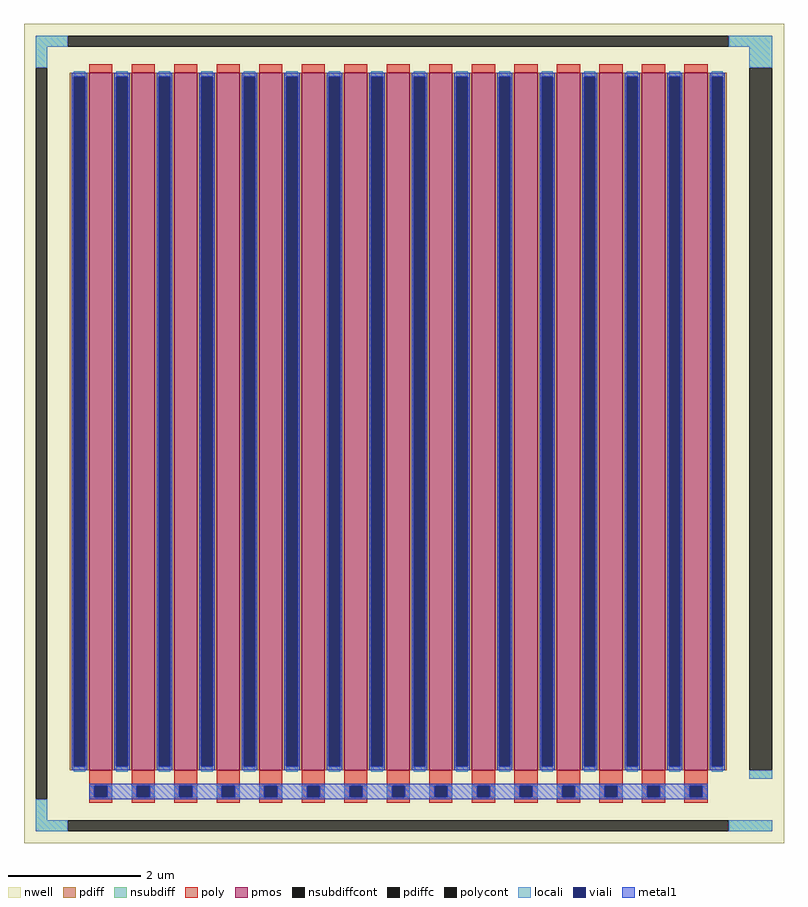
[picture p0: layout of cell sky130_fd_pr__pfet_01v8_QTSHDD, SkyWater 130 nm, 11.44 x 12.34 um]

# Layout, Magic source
magic
tech sky130A
magscale 1 2
<< nwell >>
rect -1127 -1234 1161 1234
<< pmos >>
rect -931 -1014 -861 1086
rect -803 -1014 -733 1086
rect -675 -1014 -605 1086
rect -547 -1014 -477 1086
rect -419 -1014 -349 1086
rect -291 -1014 -221 1086
rect -163 -1014 -93 1086
rect -35 -1014 35 1086
rect 93 -1014 163 1086
rect 221 -1014 291 1086
rect 349 -1014 419 1086
rect 477 -1014 547 1086
rect 605 -1014 675 1086
rect 733 -1014 803 1086
rect 861 -1014 931 1086
<< pdiff >>
rect -989 1074 -931 1086
rect -989 -1002 -977 1074
rect -943 -1002 -931 1074
rect -989 -1014 -931 -1002
rect -861 1074 -803 1086
rect -861 -1002 -849 1074
rect -815 -1002 -803 1074
rect -861 -1014 -803 -1002
rect -733 1074 -675 1086
rect -733 -1002 -721 1074
rect -687 -1002 -675 1074
rect -733 -1014 -675 -1002
rect -605 1074 -547 1086
rect -605 -1002 -593 1074
rect -559 -1002 -547 1074
rect -605 -1014 -547 -1002
rect -477 1074 -419 1086
rect -477 -1002 -465 1074
rect -431 -1002 -419 1074
rect -477 -1014 -419 -1002
rect -349 1074 -291 1086
rect -349 -1002 -337 1074
rect -303 -1002 -291 1074
rect -349 -1014 -291 -1002
rect -221 1074 -163 1086
rect -221 -1002 -209 1074
rect -175 -1002 -163 1074
rect -221 -1014 -163 -1002
rect -93 1074 -35 1086
rect -93 -1002 -81 1074
rect -47 -1002 -35 1074
rect -93 -1014 -35 -1002
rect 35 1074 93 1086
rect 35 -1002 47 1074
rect 81 -1002 93 1074
rect 35 -1014 93 -1002
rect 163 1074 221 1086
rect 163 -1002 175 1074
rect 209 -1002 221 1074
rect 163 -1014 221 -1002
rect 291 1074 349 1086
rect 291 -1002 303 1074
rect 337 -1002 349 1074
rect 291 -1014 349 -1002
rect 419 1074 477 1086
rect 419 -1002 431 1074
rect 465 -1002 477 1074
rect 419 -1014 477 -1002
rect 547 1074 605 1086
rect 547 -1002 559 1074
rect 593 -1002 605 1074
rect 547 -1014 605 -1002
rect 675 1074 733 1086
rect 675 -1002 687 1074
rect 721 -1002 733 1074
rect 675 -1014 733 -1002
rect 803 1074 861 1086
rect 803 -1002 815 1074
rect 849 -1002 861 1074
rect 803 -1014 861 -1002
rect 931 1074 989 1086
rect 931 -1002 943 1074
rect 977 -1002 989 1074
rect 931 -1014 989 -1002
<< pdiffc >>
rect -977 -1002 -943 1074
rect -849 -1002 -815 1074
rect -721 -1002 -687 1074
rect -593 -1002 -559 1074
rect -465 -1002 -431 1074
rect -337 -1002 -303 1074
rect -209 -1002 -175 1074
rect -81 -1002 -47 1074
rect 47 -1002 81 1074
rect 175 -1002 209 1074
rect 303 -1002 337 1074
rect 431 -1002 465 1074
rect 559 -1002 593 1074
rect 687 -1002 721 1074
rect 815 -1002 849 1074
rect 943 -1002 977 1074
<< nsubdiff >>
rect -1091 1164 -995 1198
rect 995 1164 1125 1198
rect -1091 1101 -1057 1164
rect 1057 1101 1125 1164
rect -1091 -1164 -1057 -1101
rect 1057 -1039 1125 -1014
rect -1091 -1198 -995 -1164
rect 995 -1198 1125 -1164
<< nsubdiffcont >>
rect -995 1164 995 1198
rect -1091 -1101 -1057 1101
rect 1057 -1014 1125 1101
rect -995 -1198 995 -1164
<< poly >>
rect -931 1086 -861 1112
rect -803 1086 -733 1112
rect -675 1086 -605 1112
rect -547 1086 -477 1112
rect -419 1086 -349 1112
rect -291 1086 -221 1112
rect -163 1086 -93 1112
rect -35 1086 35 1112
rect 93 1086 163 1112
rect 221 1086 291 1112
rect 349 1086 419 1112
rect 477 1086 547 1112
rect 605 1086 675 1112
rect 733 1086 803 1112
rect 861 1086 931 1112
rect -931 -1061 -861 -1014
rect -931 -1095 -915 -1061
rect -877 -1095 -861 -1061
rect -931 -1111 -861 -1095
rect -803 -1061 -733 -1014
rect -803 -1095 -787 -1061
rect -749 -1095 -733 -1061
rect -803 -1111 -733 -1095
rect -675 -1061 -605 -1014
rect -675 -1095 -659 -1061
rect -621 -1095 -605 -1061
rect -675 -1111 -605 -1095
rect -547 -1061 -477 -1014
rect -547 -1095 -531 -1061
rect -493 -1095 -477 -1061
rect -547 -1111 -477 -1095
rect -419 -1061 -349 -1014
rect -419 -1095 -403 -1061
rect -365 -1095 -349 -1061
rect -419 -1111 -349 -1095
rect -291 -1061 -221 -1014
rect -291 -1095 -275 -1061
rect -237 -1095 -221 -1061
rect -291 -1111 -221 -1095
rect -163 -1061 -93 -1014
rect -163 -1095 -147 -1061
rect -109 -1095 -93 -1061
rect -163 -1111 -93 -1095
rect -35 -1061 35 -1014
rect -35 -1095 -19 -1061
rect 19 -1095 35 -1061
rect -35 -1111 35 -1095
rect 93 -1061 163 -1014
rect 93 -1095 109 -1061
rect 147 -1095 163 -1061
rect 93 -1111 163 -1095
rect 221 -1061 291 -1014
rect 221 -1095 237 -1061
rect 275 -1095 291 -1061
rect 221 -1111 291 -1095
rect 349 -1061 419 -1014
rect 349 -1095 365 -1061
rect 403 -1095 419 -1061
rect 349 -1111 419 -1095
rect 477 -1061 547 -1014
rect 477 -1095 493 -1061
rect 531 -1095 547 -1061
rect 477 -1111 547 -1095
rect 605 -1061 675 -1014
rect 605 -1095 621 -1061
rect 659 -1095 675 -1061
rect 605 -1111 675 -1095
rect 733 -1061 803 -1014
rect 733 -1095 749 -1061
rect 787 -1095 803 -1061
rect 733 -1111 803 -1095
rect 861 -1061 931 -1014
rect 861 -1095 877 -1061
rect 915 -1095 931 -1061
rect 861 -1111 931 -1095
<< polycont >>
rect -915 -1095 -877 -1061
rect -787 -1095 -749 -1061
rect -659 -1095 -621 -1061
rect -531 -1095 -493 -1061
rect -403 -1095 -365 -1061
rect -275 -1095 -237 -1061
rect -147 -1095 -109 -1061
rect -19 -1095 19 -1061
rect 109 -1095 147 -1061
rect 237 -1095 275 -1061
rect 365 -1095 403 -1061
rect 493 -1095 531 -1061
rect 621 -1095 659 -1061
rect 749 -1095 787 -1061
rect 877 -1095 915 -1061
<< locali >>
rect -1091 1164 -995 1198
rect 995 1164 1125 1198
rect -1091 1101 -1057 1164
rect 1057 1101 1125 1164
rect -977 1074 -943 1090
rect -977 -1018 -943 -1002
rect -849 1074 -815 1090
rect -849 -1018 -815 -1002
rect -721 1074 -687 1090
rect -721 -1018 -687 -1002
rect -593 1074 -559 1090
rect -593 -1018 -559 -1002
rect -465 1074 -431 1090
rect -465 -1018 -431 -1002
rect -337 1074 -303 1090
rect -337 -1018 -303 -1002
rect -209 1074 -175 1090
rect -209 -1018 -175 -1002
rect -81 1074 -47 1090
rect -81 -1018 -47 -1002
rect 47 1074 81 1090
rect 47 -1018 81 -1002
rect 175 1074 209 1090
rect 175 -1018 209 -1002
rect 303 1074 337 1090
rect 303 -1018 337 -1002
rect 431 1074 465 1090
rect 431 -1018 465 -1002
rect 559 1074 593 1090
rect 559 -1018 593 -1002
rect 687 1074 721 1090
rect 687 -1018 721 -1002
rect 815 1074 849 1090
rect 815 -1018 849 -1002
rect 943 1074 977 1090
rect 943 -1018 977 -1002
rect 1057 -1039 1125 -1014
rect -931 -1095 -915 -1061
rect -877 -1095 -861 -1061
rect -803 -1095 -787 -1061
rect -749 -1095 -733 -1061
rect -675 -1095 -659 -1061
rect -621 -1095 -605 -1061
rect -547 -1095 -531 -1061
rect -493 -1095 -477 -1061
rect -419 -1095 -403 -1061
rect -365 -1095 -349 -1061
rect -291 -1095 -275 -1061
rect -237 -1095 -221 -1061
rect -163 -1095 -147 -1061
rect -109 -1095 -93 -1061
rect -35 -1095 -19 -1061
rect 19 -1095 35 -1061
rect 93 -1095 109 -1061
rect 147 -1095 163 -1061
rect 221 -1095 237 -1061
rect 275 -1095 291 -1061
rect 349 -1095 365 -1061
rect 403 -1095 419 -1061
rect 477 -1095 493 -1061
rect 531 -1095 547 -1061
rect 605 -1095 621 -1061
rect 659 -1095 675 -1061
rect 733 -1095 749 -1061
rect 787 -1095 803 -1061
rect 861 -1095 877 -1061
rect 915 -1095 931 -1061
rect -1091 -1164 -1057 -1101
rect -1091 -1198 -995 -1164
rect 995 -1198 1125 -1164
<< viali >>
rect -977 -1002 -943 1074
rect -849 -1002 -815 1074
rect -721 -1002 -687 1074
rect -593 -1002 -559 1074
rect -465 -1002 -431 1074
rect -337 -1002 -303 1074
rect -209 -1002 -175 1074
rect -81 -1002 -47 1074
rect 47 -1002 81 1074
rect 175 -1002 209 1074
rect 303 -1002 337 1074
rect 431 -1002 465 1074
rect 559 -1002 593 1074
rect 687 -1002 721 1074
rect 815 -1002 849 1074
rect 943 -1002 977 1074
rect -915 -1095 -877 -1061
rect -787 -1095 -749 -1061
rect -659 -1095 -621 -1061
rect -531 -1095 -493 -1061
rect -403 -1095 -365 -1061
rect -275 -1095 -237 -1061
rect -147 -1095 -109 -1061
rect -19 -1095 19 -1061
rect 109 -1095 147 -1061
rect 237 -1095 275 -1061
rect 365 -1095 403 -1061
rect 493 -1095 531 -1061
rect 621 -1095 659 -1061
rect 749 -1095 787 -1061
rect 877 -1095 915 -1061
<< metal1 >>
rect -983 1074 -937 1086
rect -983 -1002 -977 1074
rect -943 -1002 -937 1074
rect -983 -1014 -937 -1002
rect -855 1074 -809 1086
rect -855 -1002 -849 1074
rect -815 -1002 -809 1074
rect -855 -1014 -809 -1002
rect -727 1074 -681 1086
rect -727 -1002 -721 1074
rect -687 -1002 -681 1074
rect -727 -1014 -681 -1002
rect -599 1074 -553 1086
rect -599 -1002 -593 1074
rect -559 -1002 -553 1074
rect -599 -1014 -553 -1002
rect -471 1074 -425 1086
rect -471 -1002 -465 1074
rect -431 -1002 -425 1074
rect -471 -1014 -425 -1002
rect -343 1074 -297 1086
rect -343 -1002 -337 1074
rect -303 -1002 -297 1074
rect -343 -1014 -297 -1002
rect -215 1074 -169 1086
rect -215 -1002 -209 1074
rect -175 -1002 -169 1074
rect -215 -1014 -169 -1002
rect -87 1074 -41 1086
rect -87 -1002 -81 1074
rect -47 -1002 -41 1074
rect -87 -1014 -41 -1002
rect 41 1074 87 1086
rect 41 -1002 47 1074
rect 81 -1002 87 1074
rect 41 -1014 87 -1002
rect 169 1074 215 1086
rect 169 -1002 175 1074
rect 209 -1002 215 1074
rect 169 -1014 215 -1002
rect 297 1074 343 1086
rect 297 -1002 303 1074
rect 337 -1002 343 1074
rect 297 -1014 343 -1002
rect 425 1074 471 1086
rect 425 -1002 431 1074
rect 465 -1002 471 1074
rect 425 -1014 471 -1002
rect 553 1074 599 1086
rect 553 -1002 559 1074
rect 593 -1002 599 1074
rect 553 -1014 599 -1002
rect 681 1074 727 1086
rect 681 -1002 687 1074
rect 721 -1002 727 1074
rect 681 -1014 727 -1002
rect 809 1074 855 1086
rect 809 -1002 815 1074
rect 849 -1002 855 1074
rect 809 -1014 855 -1002
rect 937 1074 983 1086
rect 937 -1002 943 1074
rect 977 -1002 983 1074
rect 937 -1014 983 -1002
rect -931 -1061 931 -1055
rect -931 -1095 -915 -1061
rect -877 -1095 -787 -1061
rect -749 -1095 -659 -1061
rect -621 -1095 -531 -1061
rect -493 -1095 -403 -1061
rect -365 -1095 -275 -1061
rect -237 -1095 -147 -1061
rect -109 -1095 -19 -1061
rect 19 -1095 109 -1061
rect 147 -1095 237 -1061
rect 275 -1095 365 -1061
rect 403 -1095 493 -1061
rect 531 -1095 621 -1061
rect 659 -1095 749 -1061
rect 787 -1095 877 -1061
rect 915 -1095 931 -1061
rect -931 -1101 931 -1095
<< properties >>
string gencell sky130_fd_pr__pfet_01v8
string FIXED_BBOX -1074 -1181 1074 1181
string parameters w 10.5 l 0.35 m 1 nf 15 diffcov 100 polycov 100 guard 1 glc 1 grc 0 gtc 1 gbc 1 tbcov 100 rlcov 100 topc 0 botc 1 poverlap 0 doverlap 1 lmin 0.15 wmin 0.42 compatible {sky130_fd_pr__pfet_01v8  sky130_fd_pr__pfet_01v8_lvt sky130_fd_pr__pfet_01v8_hvt  sky130_fd_pr__pfet_g5v0d10v5} full_metal 1 viasrc 100 viadrn 100 viagate 100 viagb 0 viagr 0 viagl 0 viagt 0
string library sky130
<< end >>
